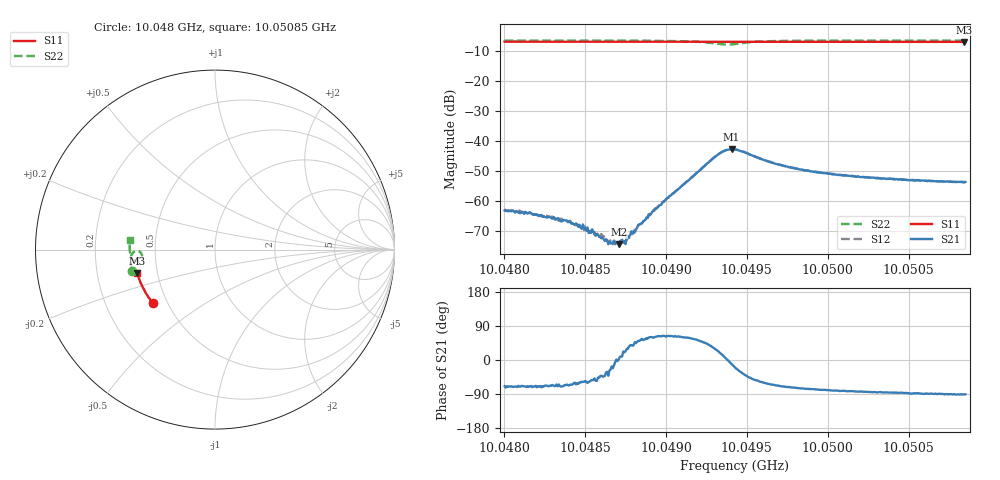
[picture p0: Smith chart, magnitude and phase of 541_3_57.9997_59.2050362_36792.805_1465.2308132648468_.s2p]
#  HZ  S  RI  R  50.00
! Rohde & Schwarz Vector Network Analyzer
! Rohde-Schwarz,ZNB20-2Port,1311601062101988,3.16
! Created: UTC 3/21/2024, 1:14:36 AM
! freq[Hz]  re:S11  im:S11  re:S21  im:S21  re:S12  im:S12  re:S22  im:S22
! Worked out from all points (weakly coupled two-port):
!   401 points, 10.048 GHz to 10.05085 GHz, reference 50 ohm
!   highest |S21| = -42.76 dB at 10.04941 GHz (marker M1); lowest = -74.5 dB at 10.04871 GHz (marker M2)
!   lowest |S11| = -6.9 dB at 10.05084 GHz (marker M3), VSWR 2.65, Z = 19.2 - j6.4 ohm
!   |S11| at or under -10 dB: nowhere
!   |S22| runs from -7.8 to -6.4 dB; largest |S21 - S12| = 0.00052
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1.0048003e10  -0.3476 -0.2969  0.000247 -0.000646  0.000307 -0.000661  -0.4628 -0.1185
1.0048145e10  -0.3534 -0.2895  0.000224 -0.000585  0.000249 -0.000561  -0.4648 -0.1087
1.0048309e10  -0.36 -0.2808  0.000193 -0.000497  0.000217 -0.00048  -0.467 -0.0972
1.0048416e10  -0.364 -0.2751  0.000175 -0.000377  0.000206 -0.000379  -0.4681 -0.0894
1.004848e10  -0.3665 -0.2717  0.000185 -0.000287  0.000176 -0.000315  -0.4689 -0.0847
1.0048636e10  -0.3722 -0.2632  0.000188 -0.000114  0.000197 -9.94e-05  -0.47 -0.0727
1.0048651e10  -0.3727 -0.2623  0.000184 -9.68e-05  0.000188 -7.1e-05  -0.47 -0.0714
1.0048708e10  -0.3748 -0.2591  0.000188 4.38e-06  0.000174 1.94e-05  -0.4703 -0.0668
1.004875e10  -0.3765 -0.257  0.000174 7.46e-05  0.000207 0.000121  -0.4704 -0.0632
1.0048772e10  -0.3771 -0.2557  0.000209 0.000151  0.000179 0.000162  -0.4704 -0.0614
1.0048807e10  -0.3783 -0.2537  0.000205 0.00022  0.000241 0.000227  -0.4705 -0.0582
1.0048836e10  -0.3793 -0.2521  0.00026 0.000314  0.000223 0.000335  -0.4704 -0.0557
1.0048957e10  -0.3835 -0.2452  0.000373 0.000741  0.000338 0.000771  -0.4689 -0.0439
1.0049306e10  -0.3945 -0.225  0.00485 0.00264  0.00468 0.00297  -0.4251 -0.00921
1.0049363e10  -0.3959 -0.222  0.00683 0.000941  0.00678 0.0013  -0.4084 -0.0252
1.0049405e10  -0.3969 -0.2197  0.00715 -0.00139  0.00728 -0.000903  -0.4084 -0.0448
1.0049427e10  -0.3978 -0.2185  0.00678 -0.00242  0.00699 -0.00198  -0.413 -0.053
1.0049697e10  -0.4062 -0.2029  0.00152 -0.00374  0.00175 -0.00366  -0.4668 -0.0408
1.0049904e10  -0.4118 -0.1905  0.000727 -0.00302  0.000898 -0.00301  -0.4733 -0.0191
1.0050381e10  -0.4234 -0.1613  0.000166 -0.00234  0.000295 -0.00234  -0.4754 0.0195
1.0050843e10  -0.4323 -0.1324  -2.78e-05 -0.00204  7.6e-05 -0.00206  -0.473 0.0522
1.005085e10  -0.4326 -0.1321  -2.06e-05 -0.00207  6.69e-05 -0.00204  -0.473 0.0526
